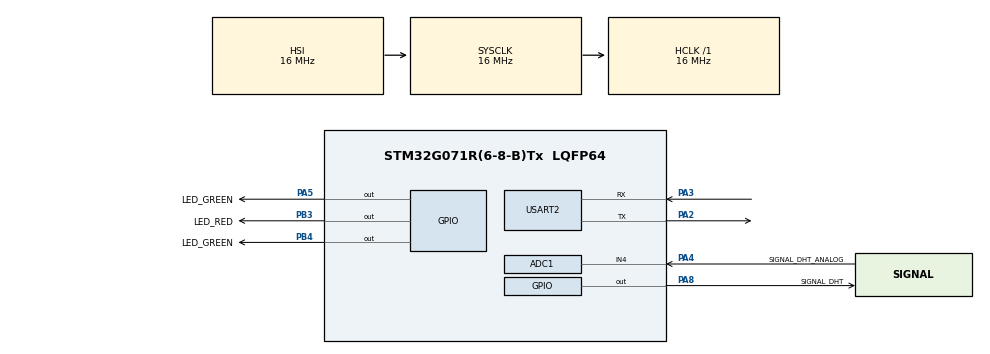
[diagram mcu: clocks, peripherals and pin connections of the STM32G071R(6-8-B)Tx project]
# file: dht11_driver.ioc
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ADC1.Channel-0\#ChannelRegularConversion=ADC_CHANNEL_4
ADC1.NbrOfConversionFlag=1
ADC1.Rank-0\#ChannelRegularConversion=1
ADC1.SamplingTime-0\#ChannelRegularConversion=ADC_SAMPLINGTIME_COMMON_1
ADC1.SelectedChannel=ADC_CHANNEL_4
ADC1.master=1
Mcu.Family=STM32G0
Mcu.Name=STM32G071R(6-8-B)Tx
Mcu.Package=LQFP64
PA13.GPIO_Label=TMS
PA13.Mode=Serial_Wire
PA13.Signal=SYS_SWDIO
PA14-BOOT0.GPIO_Label=TCK
PA14-BOOT0.Mode=Serial_Wire
PA14-BOOT0.Signal=SYS_SWCLK
PA2.Mode=Asynchronous
PA2.Signal=USART2_TX
PA3.Mode=Asynchronous
PA3.Signal=USART2_RX
PA4.GPIO_Label=SIGNAL_DHT_ANALOG
PA4.Mode=IN4
PA4.Signal=ADC1_IN4
PA5.GPIO_Label=LED_GREEN
PA5.GPIO_Speed=GPIO_SPEED_FREQ_HIGH
PA5.Signal=GPIO_Output
PA8.GPIO_Label=SIGNAL_DHT
PA8.Signal=GPIO_Output
PB3.GPIO_Label=LED_RED
PB3.Signal=GPIO_Output
PB4.GPIO_Label=LED_GREEN
PB4.Signal=GPIO_Output
PC13.Mode=SYS_WakeUp1
PC13.Signal=SYS_WKUP2
PC14-OSC32_IN\ (PC14).Mode=LSE-External-Oscillator
PC14-OSC32_IN\ (PC14).Signal=RCC_OSC32_IN
PC15-OSC32_OUT\ (PC15).Mode=LSE-External-Oscillator
PC15-OSC32_OUT\ (PC15).Signal=RCC_OSC32_OUT
PF0-OSC_IN\ (PF0).GPIO_Label=MCO
PF0-OSC_IN\ (PF0).Mode=HSE-External-Clock-Source
PF0-OSC_IN\ (PF0).Signal=RCC_OSC_IN
ProjectManager.HeapSize=0x200
ProjectManager.StackSize=0x400
ProjectManager.TargetToolchain=STM32CubeIDE
RCC.AHBFreq_Value=16000000
RCC.CortexFreq_Value=16000000
RCC.EXTERNAL_CLOCK_VALUE=12288000
RCC.HCLKFreq_Value=16000000
RCC.HSE_VALUE=8000000
RCC.HSI_VALUE=16000000
RCC.SYSCLKFreq_VALUE=16000000
RCC.VCOOutputFreq_Value=128000000
TIM2.Period=999
TIM2.Prescaler=15
USART2.VirtualMode-Asynchronous=VM_ASYNC
VP_SYS_VS_DBSignals.Mode=DisableDeadBatterySignals
VP_TIM2_VS_ClockSourceINT.Mode=Internal
board=NUCLEO-G071RB

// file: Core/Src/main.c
/* USER CODE BEGIN Header */
/**
  ******************************************************************************
  * @file           : main.c
  * @brief          : Main program body
  ******************************************************************************
  * @attention
  *
  * Copyright (c) 2024 STMicroelectronics.
  * All rights reserved.
  *
  * This software is licensed under terms that can be found in the LICENSE file
  * in the root directory of this software component.
  * If no LICENSE file comes with this software, it is provided AS-IS.
  *
  ******************************************************************************
  */
/* USER CODE END Header */
#include "main.h"

ADC_HandleTypeDef hadc1;

TIM_HandleTypeDef htim2;

UART_HandleTypeDef huart2;

void SystemClock_Config(void);
static void MX_GPIO_Init(void);
static void MX_USART2_UART_Init(void);
static void MX_ADC1_Init(void);
static void MX_TIM2_Init(void);
/* USER CODE BEGIN PFP */
void elenaDelay(uint32_t timeDelayMs);		// My own non-blocking delay function
/* USER CODE END PFP */

int main(void)
{

  /* MCU Configuration--------------------------------------------------------*/

  /* Reset of all peripherals, Initializes the Flash interface and the Systick. */
  HAL_Init();

  /* Configure the system clock */
  SystemClock_Config();

  /* Initialize all configured peripherals */
  MX_GPIO_Init();
  MX_USART2_UART_Init();
  MX_ADC1_Init();
  MX_TIM2_Init();
  /* USER CODE BEGIN 2 */

  /* ---- START PHASE ---- */

  // Variables
  int sensorValue;

  // PIN A8 (D7) talks to the signal line on sensor
  HAL_GPIO_WritePin(SIGNAL_DHT_GPIO_Port, SIGNAL_DHT_Pin, GPIO_PIN_RESET); 	// Pull voltage down
  HAL_Delay(18);
  HAL_GPIO_WritePin(SIGNAL_DHT_GPIO_Port, SIGNAL_DHT_Pin, GPIO_PIN_SET);	// Pull voltage up
  HAL_Delay(20);

  // Change signal pin to read
  GPIOA->MODER &= ~(1<<16);                             	// Set the 16th bit (MODE8) to zero (Input mode)

  // UART Startup Message
  HAL_UART_Transmit(&huart2, "Starting sensor program\r\n", 50, 100);

  // LED startup indicator
  HAL_GPIO_WritePin(LED_GREEN_GPIO_Port, LED_GREEN_Pin, GPIO_PIN_SET);
  HAL_Delay(500);
  HAL_GPIO_WritePin(LED_RED_GPIO_Port, LED_RED_Pin, GPIO_PIN_SET);
  HAL_Delay(1000);
  HAL_GPIO_WritePin(LED_GREEN_GPIO_Port, LED_GREEN_Pin, GPIO_PIN_RESET);
  HAL_Delay(500);
  HAL_GPIO_WritePin(LED_RED_GPIO_Port, LED_RED_Pin, GPIO_PIN_RESET);
  HAL_Delay(500);

  /* USER CODE END 2 */

  /* Infinite loop */
  /* USER CODE BEGIN WHILE */
  while (1)
  {
	  // Turn off LED indicators
	  HAL_GPIO_WritePin(LED_GREEN_GPIO_Port, LED_GREEN_Pin, GPIO_PIN_RESET);
	  HAL_GPIO_WritePin(LED_RED_GPIO_Port, LED_RED_Pin, GPIO_PIN_RESET);

	  sensorValue = HAL_GPIO_ReadPin(GPIOA, GPIO_PIN_8);		// Digital signal read

	  if (sensorValue){
		  HAL_UART_Transmit(&huart2, "DATA\r\n", 6, 100);
		  HAL_GPIO_WritePin(LED_GREEN_GPIO_Port, LED_GREEN_Pin, GPIO_PIN_SET);
	  } else {
		  HAL_UART_Transmit(&huart2, "EMPTY\r\n", 6, 100);
		  HAL_GPIO_WritePin(LED_RED_GPIO_Port, LED_RED_Pin, GPIO_PIN_SET);
	  }

	  HAL_Delay(500);

    /* USER CODE END WHILE */

  }
}

void SystemClock_Config(void)
{
  RCC_OscInitTypeDef RCC_OscInitStruct = {0};
  RCC_ClkInitTypeDef RCC_ClkInitStruct = {0};

  /** Configure the main internal regulator output voltage
  */
  HAL_PWREx_ControlVoltageScaling(PWR_REGULATOR_VOLTAGE_SCALE1);

  /** Initializes the RCC Oscillators according to the specified parameters
  * in the RCC_OscInitTypeDef structure.
  */
  RCC_OscInitStruct.OscillatorType = RCC_OSCILLATORTYPE_HSI;
  RCC_OscInitStruct.HSIState = RCC_HSI_ON;
  RCC_OscInitStruct.HSIDiv = RCC_HSI_DIV1;
  RCC_OscInitStruct.HSICalibrationValue = RCC_HSICALIBRATION_DEFAULT;
  RCC_OscInitStruct.PLL.PLLState = RCC_PLL_NONE;
  if (HAL_RCC_OscConfig(&RCC_OscInitStruct) != HAL_OK)
  {
    Error_Handler();
  }

  /** Initializes the CPU, AHB and APB buses clocks
  */
  RCC_ClkInitStruct.ClockType = RCC_CLOCKTYPE_HCLK|RCC_CLOCKTYPE_SYSCLK
                              |RCC_CLOCKTYPE_PCLK1;
  RCC_ClkInitStruct.SYSCLKSource = RCC_SYSCLKSOURCE_HSI;
  RCC_ClkInitStruct.AHBCLKDivider = RCC_SYSCLK_DIV1;
  RCC_ClkInitStruct.APB1CLKDivider = RCC_HCLK_DIV1;

  if (HAL_RCC_ClockConfig(&RCC_ClkInitStruct, FLASH_LATENCY_0) != HAL_OK)
  {
    Error_Handler();
  }
}

static void MX_ADC1_Init(void)
{

  ADC_ChannelConfTypeDef sConfig = {0};

  /** Configure the global features of the ADC (Clock, Resolution, Data Alignment and number of conversion)
  */
  hadc1.Instance = ADC1;
  hadc1.Init.ClockPrescaler = ADC_CLOCK_SYNC_PCLK_DIV2;
  hadc1.Init.Resolution = ADC_RESOLUTION_12B;
  hadc1.Init.DataAlign = ADC_DATAALIGN_RIGHT;
  hadc1.Init.ScanConvMode = ADC_SCAN_DISABLE;
  hadc1.Init.EOCSelection = ADC_EOC_SINGLE_CONV;
  hadc1.Init.LowPowerAutoWait = DISABLE;
  hadc1.Init.LowPowerAutoPowerOff = DISABLE;
  hadc1.Init.ContinuousConvMode = DISABLE;
  hadc1.Init.NbrOfConversion = 1;
  hadc1.Init.DiscontinuousConvMode = DISABLE;
  hadc1.Init.ExternalTrigConv = ADC_SOFTWARE_START;
  hadc1.Init.ExternalTrigConvEdge = ADC_EXTERNALTRIGCONVEDGE_NONE;
  hadc1.Init.DMAContinuousRequests = DISABLE;
  hadc1.Init.Overrun = ADC_OVR_DATA_PRESERVED;
  hadc1.Init.SamplingTimeCommon1 = ADC_SAMPLETIME_1CYCLE_5;
  hadc1.Init.SamplingTimeCommon2 = ADC_SAMPLETIME_1CYCLE_5;
  hadc1.Init.OversamplingMode = DISABLE;
  hadc1.Init.TriggerFrequencyMode = ADC_TRIGGER_FREQ_HIGH;
  if (HAL_ADC_Init(&hadc1) != HAL_OK)
  {
    Error_Handler();
  }

  /** Configure Regular Channel
  */
  sConfig.Channel = ADC_CHANNEL_4;
  sConfig.Rank = ADC_REGULAR_RANK_1;
  sConfig.SamplingTime = ADC_SAMPLINGTIME_COMMON_1;
  if (HAL_ADC_ConfigChannel(&hadc1, &sConfig) != HAL_OK)
  {
    Error_Handler();
  }

}

static void MX_TIM2_Init(void)
{

  TIM_ClockConfigTypeDef sClockSourceConfig = {0};
  TIM_MasterConfigTypeDef sMasterConfig = {0};

  htim2.Instance = TIM2;
  htim2.Init.Prescaler = 15;
  htim2.Init.CounterMode = TIM_COUNTERMODE_UP;
  htim2.Init.Period = 999;
  htim2.Init.ClockDivision = TIM_CLOCKDIVISION_DIV1;
  htim2.Init.AutoReloadPreload = TIM_AUTORELOAD_PRELOAD_DISABLE;
  if (HAL_TIM_Base_Init(&htim2) != HAL_OK)
  {
    Error_Handler();
  }
  sClockSourceConfig.ClockSource = TIM_CLOCKSOURCE_INTERNAL;
  if (HAL_TIM_ConfigClockSource(&htim2, &sClockSourceConfig) != HAL_OK)
  {
    Error_Handler();
  }
  sMasterConfig.MasterOutputTrigger = TIM_TRGO_RESET;
  sMasterConfig.MasterSlaveMode = TIM_MASTERSLAVEMODE_DISABLE;
  if (HAL_TIMEx_MasterConfigSynchronization(&htim2, &sMasterConfig) != HAL_OK)
  {
    Error_Handler();
  }

}

static void MX_USART2_UART_Init(void)
{

  huart2.Instance = USART2;
  huart2.Init.BaudRate = 115200;
  huart2.Init.WordLength = UART_WORDLENGTH_8B;
  huart2.Init.StopBits = UART_STOPBITS_1;
  huart2.Init.Parity = UART_PARITY_NONE;
  huart2.Init.Mode = UART_MODE_TX_RX;
  huart2.Init.HwFlowCtl = UART_HWCONTROL_NONE;
  huart2.Init.OverSampling = UART_OVERSAMPLING_16;
  huart2.Init.OneBitSampling = UART_ONE_BIT_SAMPLE_DISABLE;
  huart2.Init.ClockPrescaler = UART_PRESCALER_DIV1;
  huart2.AdvancedInit.AdvFeatureInit = UART_ADVFEATURE_NO_INIT;
  if (HAL_UART_Init(&huart2) != HAL_OK)
  {
    Error_Handler();
  }
  if (HAL_UARTEx_SetTxFifoThreshold(&huart2, UART_TXFIFO_THRESHOLD_1_8) != HAL_OK)
  {
    Error_Handler();
  }
  if (HAL_UARTEx_SetRxFifoThreshold(&huart2, UART_RXFIFO_THRESHOLD_1_8) != HAL_OK)
  {
    Error_Handler();
  }
  if (HAL_UARTEx_DisableFifoMode(&huart2) != HAL_OK)
  {
    Error_Handler();
  }

}

static void MX_GPIO_Init(void)
{
  GPIO_InitTypeDef GPIO_InitStruct = {0};

  /* GPIO Ports Clock Enable */
  __HAL_RCC_GPIOC_CLK_ENABLE();
  __HAL_RCC_GPIOF_CLK_ENABLE();
  __HAL_RCC_GPIOA_CLK_ENABLE();
  __HAL_RCC_GPIOB_CLK_ENABLE();

  /*Configure GPIO pin Output Level */
  HAL_GPIO_WritePin(GPIOA, LED_GREEN_Pin|SIGNAL_DHT_Pin, GPIO_PIN_RESET);

  /*Configure GPIO pin Output Level */
  HAL_GPIO_WritePin(GPIOB, LED_RED_Pin|LED_GREENB4_Pin, GPIO_PIN_RESET);

  /*Configure GPIO pin : LED_GREEN_Pin */
  GPIO_InitStruct.Pin = LED_GREEN_Pin;
  GPIO_InitStruct.Mode = GPIO_MODE_OUTPUT_PP;
  GPIO_InitStruct.Pull = GPIO_NOPULL;
  GPIO_InitStruct.Speed = GPIO_SPEED_FREQ_HIGH;
  HAL_GPIO_Init(LED_GREEN_GPIO_Port, &GPIO_InitStruct);

  /*Configure GPIO pin : SIGNAL_DHT_Pin */
  GPIO_InitStruct.Pin = SIGNAL_DHT_Pin;
  GPIO_InitStruct.Mode = GPIO_MODE_OUTPUT_PP;
  GPIO_InitStruct.Pull = GPIO_NOPULL;
  GPIO_InitStruct.Speed = GPIO_SPEED_FREQ_LOW;
  HAL_GPIO_Init(SIGNAL_DHT_GPIO_Port, &GPIO_InitStruct);

  /*Configure GPIO pins : LED_RED_Pin LED_GREENB4_Pin */
  GPIO_InitStruct.Pin = LED_RED_Pin|LED_GREENB4_Pin;
  GPIO_InitStruct.Mode = GPIO_MODE_OUTPUT_PP;
  GPIO_InitStruct.Pull = GPIO_NOPULL;
  GPIO_InitStruct.Speed = GPIO_SPEED_FREQ_LOW;
  HAL_GPIO_Init(GPIOB, &GPIO_InitStruct);

}

/* USER CODE BEGIN 4 */

void elenaDelay(uint32_t timeDelayMs) {
    uint32_t startTick = TIM2->CNT;
    uint32_t endTick = startTick + timeDelayMs;
    uint32_t overflowCount = 0;
    uint16_t timerMaxValue = TIM2->ARR; 		// Maximum timer value

	// Increment overflow counter every time the timer overflows (every millisecond)
	while (overflowCount < timeDelayMs) {
		if (TIM2->CNT < startTick) { 			// Detect overflow
			overflowCount += timerMaxValue; 	// Adjust overflowCount by the maximum timer value
	}
		if (overflowCount >= timeDelayMs || TIM2->CNT >= endTick) {
			break; 								// Exit the loop when the desired delay is achieved
	}
		startTick = TIM2->CNT;
	}
}

/* USER CODE END 4 */

void Error_Handler(void)
{
  __disable_irq();
  while (1)
  {
  }
}
